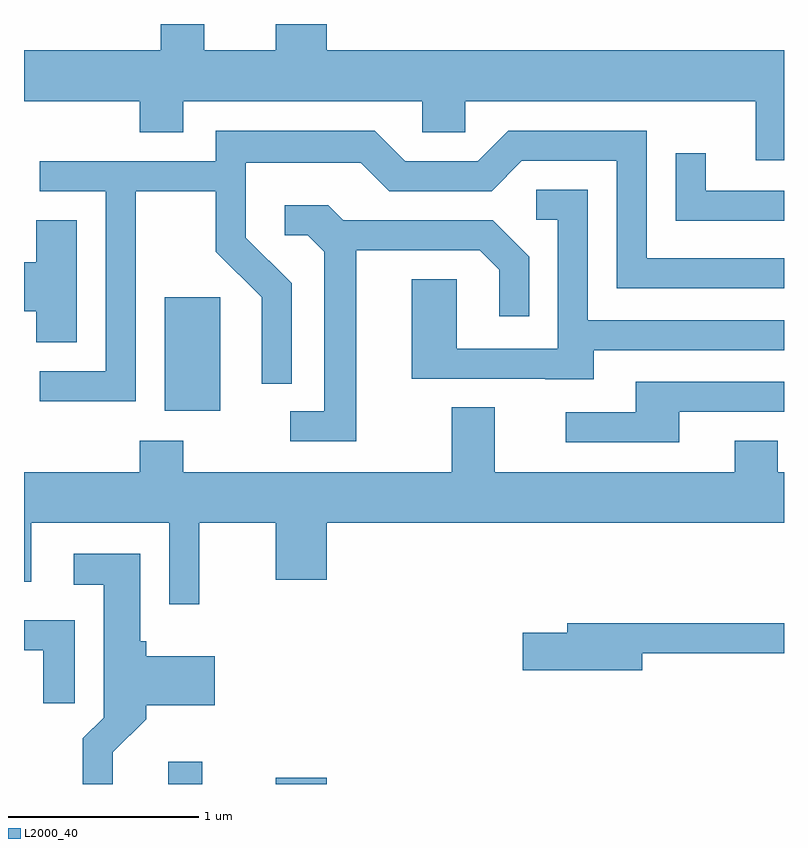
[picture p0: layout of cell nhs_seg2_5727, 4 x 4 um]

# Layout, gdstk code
import gdstk
lib = gdstk.Library(unit=1e-6, precision=1e-09)
def R(c, l, rs):  # rectangles x0, y0, x1, y1
    for r in rs: c.add(gdstk.rectangle(r[:2], r[2:], *l))
def P(c, l, *ps):  # polygons
    for p in ps: c.add(gdstk.Polygon(p, *l))
L2000_40 = (2000, 40)

nhs_seg2_5727 = lib.new_cell('nhs_seg2_5727')
R(nhs_seg2_5727, L2000_40, [(354.371,1075.802,354.549,1075.919), (354.936,1075.802,355.204,1075.834), (354.351,1077.766,354.644,1078.364)])
P(nhs_seg2_5727, L2000_40, [(357.611,1079.664),(355.204,1079.664),(355.204,1079.802),(354.936,1079.802),(354.936,1079.664),(354.559,1079.664),(354.559,1079.802),(354.331,1079.802),(354.331,1079.664),(353.611,1079.664),(353.611,1079.396),(354.221,1079.396),(354.221,1079.231),(354.449,1079.231),(354.449,1079.396),(355.706,1079.396),(355.706,1079.231),(355.934,1079.231),(355.934,1079.396),(357.461,1079.396),(357.461,1079.086),(357.611,1079.086)],
  [(354.199,1078.921),(354.621,1078.921),(354.621,1078.604),(354.861,1078.364),(354.861,1077.908),(355.019,1077.908),(355.019,1078.437),(354.779,1078.677),(354.779,1079.071),(355.384,1079.071),(355.534,1078.921),(356.072,1078.921),(356.232,1079.081),(356.731,1079.081),(356.731,1078.411),(357.611,1078.411),(357.611,1078.569),(356.889,1078.569),(356.889,1079.239),(356.159,1079.239),(355.999,1079.079),(355.617,1079.079),(355.457,1079.239),(354.621,1079.239),(354.621,1079.079),(353.693,1079.079),(353.693,1078.921),(354.041,1078.921),(354.041,1077.974),(353.693,1077.974),(353.693,1077.816),(354.199,1077.816)],
  [(357.611,1078.924),(357.199,1078.924),(357.199,1079.123),(357.041,1079.123),(357.041,1078.766),(357.611,1078.766)],
  [(356.609,1078.086),(357.611,1078.086),(357.611,1078.244),(356.579,1078.244),(356.579,1078.929),(356.308,1078.929),(356.308,1078.771),(356.421,1078.771),(356.421,1078.094),(355.889,1078.094),(355.889,1078.459),(355.651,1078.459),(355.651,1077.936),(356.355,1077.936),(356.355,1077.931),(356.609,1077.931)],
  [(355.359,1078.611),(356.009,1078.611),(356.111,1078.509),(356.111,1078.263),(356.269,1078.263),(356.269,1078.577),(356.077,1078.769),(355.292,1078.769),(355.212,1078.849),(354.983,1078.849),(354.983,1078.691),(355.104,1078.691),(355.191,1078.604),(355.191,1077.764),(355.013,1077.764),(355.013,1077.606),(355.359,1077.606)],
  [(353.889,1078.769),(353.676,1078.769),(353.676,1078.549),(353.611,1078.549),(353.611,1078.291),(353.676,1078.291),(353.676,1078.126),(353.889,1078.126)],
  [(357.059,1077.761),(357.611,1077.761),(357.611,1077.919),(356.831,1077.919),(356.831,1077.759),(356.463,1077.759),(356.463,1077.601),(357.059,1077.601)],
  [(354.534,1077.176),(354.936,1077.176),(354.936,1076.876),(355.204,1076.876),(355.204,1077.176),(357.611,1077.176),(357.611,1077.444),(357.579,1077.444),(357.579,1077.609),(357.351,1077.609),(357.351,1077.444),(356.089,1077.444),(356.089,1077.784),(355.861,1077.784),(355.861,1077.444),(354.449,1077.444),(354.449,1077.609),(354.221,1077.609),(354.221,1077.444),(353.611,1077.444),(353.611,1076.866),(353.649,1076.866),(353.649,1077.176),(354.376,1077.176),(354.376,1076.748),(354.534,1076.748)],
  [(354.079,1075.969),(354.254,1076.144),(354.254,1076.216),(354.614,1076.216),(354.614,1076.474),(354.254,1076.474),(354.254,1076.554),(354.224,1076.554),(354.224,1077.014),(353.873,1077.014),(353.873,1076.851),(354.031,1076.851),(354.031,1076.152),(353.921,1076.042),(353.921,1075.802),(354.079,1075.802)],
  [(353.879,1076.664),(353.611,1076.664),(353.611,1076.506),(353.711,1076.506),(353.711,1076.228),(353.879,1076.228)],
  [(356.864,1076.491),(357.611,1076.491),(357.611,1076.649),(356.471,1076.649),(356.471,1076.599),(356.236,1076.599),(356.236,1076.401),(356.864,1076.401)])

lib.write_gds('nhs_seg2_5727.gds')
